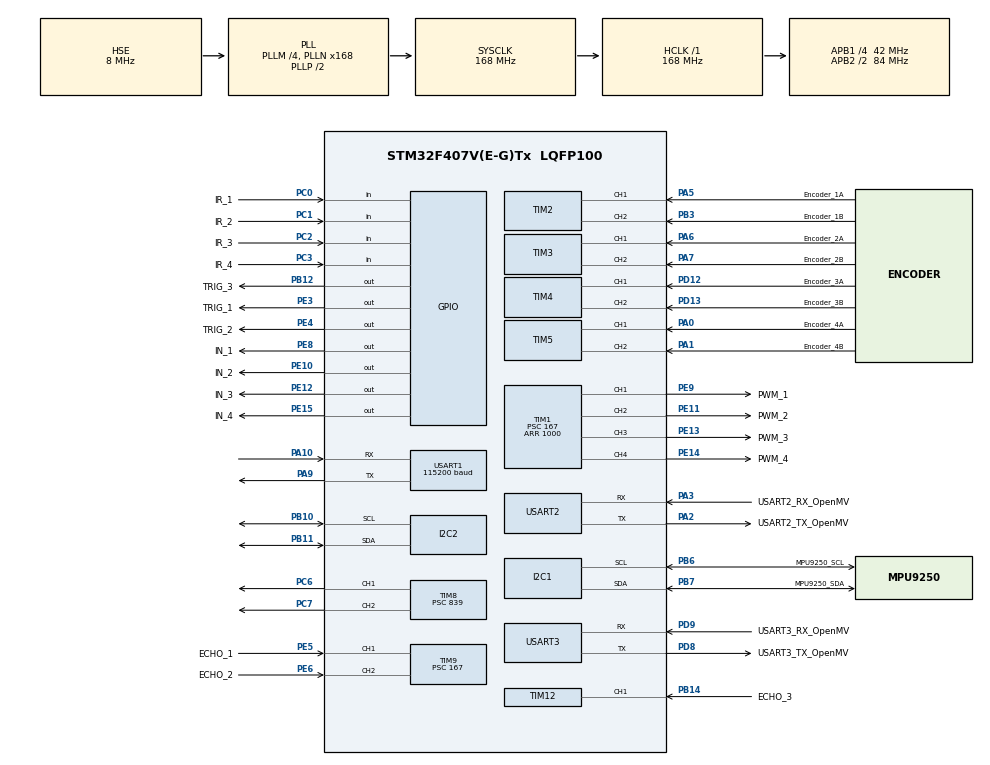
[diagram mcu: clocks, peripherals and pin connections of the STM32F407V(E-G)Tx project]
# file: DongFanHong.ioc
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I2C1.I2C_Mode=I2C_Fast
Mcu.Family=STM32F4
Mcu.Name=STM32F407V(E-G)Tx
Mcu.Package=LQFP100
NVIC.PriorityGroup=NVIC_PRIORITYGROUP_4
NVIC.TIM1_BRK_TIM9_IRQn=true\:0\:0\:false\:false\:true\:true\:true
NVIC.TIM8_BRK_TIM12_IRQn=true\:0\:0\:false\:false\:true\:true\:true
NVIC.USART1_IRQn=true\:0\:0\:false\:false\:true\:true\:true
NVIC.USART2_IRQn=true\:0\:0\:false\:false\:true\:true\:true
NVIC.USART3_IRQn=true\:0\:0\:false\:false\:true\:true\:true
PA0-WKUP.GPIO_Label=Encoder_4A
PA0-WKUP.Signal=S_TIM5_CH1
PA1.GPIO_Label=Encoder_4B
PA1.Signal=S_TIM5_CH2
PA10.Mode=Asynchronous
PA10.Signal=USART1_RX
PA13.Mode=Serial_Wire
PA13.Signal=SYS_JTMS-SWDIO
PA14.Mode=Serial_Wire
PA14.Signal=SYS_JTCK-SWCLK
PA2.GPIO_Label=USART2_TX_OpenMV
PA2.Mode=Asynchronous
PA2.Signal=USART2_TX
PA3.GPIO_Label=USART2_RX_OpenMV
PA3.Mode=Asynchronous
PA3.Signal=USART2_RX
PA5.GPIO_Label=Encoder_1A
PA5.Signal=S_TIM2_CH1_ETR
PA6.GPIO_Label=Encoder_2A
PA6.Signal=S_TIM3_CH1
PA7.GPIO_Label=Encoder_2B
PA7.Signal=S_TIM3_CH2
PA9.Mode=Asynchronous
PA9.Signal=USART1_TX
PB10.Mode=I2C
PB10.Signal=I2C2_SCL
PB11.Mode=I2C
PB11.Signal=I2C2_SDA
PB12.GPIO_Label=TRIG_3
PB12.Signal=GPIO_Output
PB14.GPIO_Label=ECHO_3
PB14.GPIO_PuPd=GPIO_NOPULL
PB14.Signal=S_TIM12_CH1
PB3.GPIO_Label=Encoder_1B
PB3.Signal=S_TIM2_CH2
PB6.GPIO_Label=MPU9250_SCL
PB6.Mode=I2C
PB6.Signal=I2C1_SCL
PB7.GPIO_Label=MPU9250_SDA
PB7.Mode=I2C
PB7.Signal=I2C1_SDA
PC0.GPIO_Label=IR_1
PC0.GPIO_PuPd=GPIO_PULLDOWN
PC0.Signal=GPIO_Input
PC1.GPIO_Label=IR_2
PC1.GPIO_PuPd=GPIO_PULLDOWN
PC1.Signal=GPIO_Input
PC14-OSC32_IN.Mode=LSE-External-Oscillator
PC14-OSC32_IN.Signal=RCC_OSC32_IN
PC15-OSC32_OUT.Mode=LSE-External-Oscillator
PC15-OSC32_OUT.Signal=RCC_OSC32_OUT
PC2.GPIO_Label=IR_3
PC2.GPIO_PuPd=GPIO_PULLDOWN
PC2.Signal=GPIO_Input
PC3.GPIO_Label=IR_4
PC3.GPIO_PuPd=GPIO_PULLDOWN
PC3.Signal=GPIO_Input
PC6.Signal=S_TIM8_CH1
PC7.Signal=S_TIM8_CH2
PD12.GPIO_Label=Encoder_3A
PD12.Signal=S_TIM4_CH1
PD13.GPIO_Label=Encoder_3B
PD13.Signal=S_TIM4_CH2
PD8.GPIO_Label=USART3_TX_OpenMV
PD8.Mode=Asynchronous
PD8.Signal=USART3_TX
PD9.GPIO_Label=USART3_RX_OpenMV
PD9.Mode=Asynchronous
PD9.Signal=USART3_RX
PE10.GPIO_Label=IN_2
PE10.Signal=GPIO_Output
PE11.GPIO_Label=PWM_2
PE11.Signal=S_TIM1_CH2
PE12.GPIO_Label=IN_3
PE12.Signal=GPIO_Output
PE13.GPIO_Label=PWM_3
PE13.Signal=S_TIM1_CH3
PE14.GPIO_Label=PWM_4
PE14.Signal=S_TIM1_CH4
PE15.GPIO_Label=IN_4
PE15.Signal=GPIO_Output
PE3.GPIO_Label=TRIG_1
PE3.Signal=GPIO_Output
PE4.GPIO_Label=TRIG_2
PE4.Signal=GPIO_Output
PE5.GPIO_Label=ECHO_1
PE5.Signal=S_TIM9_CH1
PE6.GPIO_Label=ECHO_2
PE6.Signal=S_TIM9_CH2
PE8.GPIO_Label=IN_1
PE8.Signal=GPIO_Output
PE9.GPIO_Label=PWM_1
PE9.Signal=S_TIM1_CH1
PH0-OSC_IN.Mode=HSE-External-Oscillator
PH0-OSC_IN.Signal=RCC_OSC_IN
PH1-OSC_OUT.Mode=HSE-External-Oscillator
PH1-OSC_OUT.Signal=RCC_OSC_OUT
ProjectManager.HeapSize=0x200
ProjectManager.StackSize=0x400
ProjectManager.TargetToolchain=MDK-ARM V5.32
RCC.48MHZClocksFreq_Value=84000000
RCC.AHBFreq_Value=168000000
RCC.APB1CLKDivider=RCC_HCLK_DIV4
RCC.APB1Freq_Value=42000000
RCC.APB1TimFreq_Value=84000000
RCC.APB2CLKDivider=RCC_HCLK_DIV2
RCC.APB2Freq_Value=84000000
RCC.APB2TimFreq_Value=168000000
RCC.CortexFreq_Value=168000000
RCC.HCLKFreq_Value=168000000
RCC.HSE_VALUE=8000000
RCC.HSI_VALUE=16000000
RCC.PLLM=4
RCC.PLLN=168
RCC.PLLSourceVirtual=RCC_PLLSOURCE_HSE
RCC.SYSCLKFreq_VALUE=168000000
RCC.SYSCLKSource=RCC_SYSCLKSOURCE_PLLCLK
RCC.VCOOutputFreq_Value=336000000
SH.S_TIM12_CH1.0=TIM12_CH1,Input_Capture1_from_TI1
SH.S_TIM1_CH1.0=TIM1_CH1,PWM Generation1 CH1
SH.S_TIM1_CH2.0=TIM1_CH2,PWM Generation2 CH2
SH.S_TIM1_CH3.0=TIM1_CH3,PWM Generation3 CH3
SH.S_TIM1_CH4.0=TIM1_CH4,PWM Generation4 CH4
SH.S_TIM2_CH1_ETR.0=TIM2_CH1,Encoder_Interface
SH.S_TIM2_CH2.0=TIM2_CH2,Encoder_Interface
SH.S_TIM3_CH1.0=TIM3_CH1,Encoder_Interface
SH.S_TIM3_CH2.0=TIM3_CH2,Encoder_Interface
SH.S_TIM4_CH1.0=TIM4_CH1,Encoder_Interface
SH.S_TIM4_CH2.0=TIM4_CH2,Encoder_Interface
SH.S_TIM5_CH1.0=TIM5_CH1,Encoder_Interface
SH.S_TIM5_CH2.0=TIM5_CH2,Encoder_Interface
SH.S_TIM8_CH1.0=TIM8_CH1,PWM Generation1 CH1
SH.S_TIM8_CH2.0=TIM8_CH2,PWM Generation2 CH2
SH.S_TIM9_CH1.0=TIM9_CH1,Input_Capture1_from_TI1
SH.S_TIM9_CH2.0=TIM9_CH2,Input_Capture2_from_TI2
TIM1.Channel-PWM\ Generation1\ CH1=TIM_CHANNEL_1
TIM1.Channel-PWM\ Generation2\ CH2=TIM_CHANNEL_2
TIM1.Channel-PWM\ Generation3\ CH3=TIM_CHANNEL_3
TIM1.Channel-PWM\ Generation4\ CH4=TIM_CHANNEL_4
TIM1.Period=1000
TIM1.Prescaler=167
TIM12.Channel-Input_Capture1_from_TI1=TIM_CHANNEL_1
TIM12.Prescaler=167
TIM2.EncoderMode=TIM_ENCODERMODE_TI12
TIM3.EncoderMode=TIM_ENCODERMODE_TI12
TIM4.EncoderMode=TIM_ENCODERMODE_TI12
TIM5.EncoderMode=TIM_ENCODERMODE_TI12
TIM8.Channel-PWM\ Generation1\ CH1=TIM_CHANNEL_1
TIM8.Channel-PWM\ Generation2\ CH2=TIM_CHANNEL_2
TIM8.Period=1999
TIM8.Prescaler=839
TIM9.Channel-Input_Capture1_from_TI1=TIM_CHANNEL_1
TIM9.Channel-Input_Capture2_from_TI2=TIM_CHANNEL_2
TIM9.Prescaler=167
USART1.BaudRate=115200
USART1.VirtualMode=VM_ASYNC
USART2.VirtualMode=VM_ASYNC
USART3.VirtualMode=VM_ASYNC
VP_TIM12_VS_ClockSourceINT.Mode=Internal
VP_TIM1_VS_ClockSourceINT.Mode=Internal
VP_TIM8_VS_ClockSourceINT.Mode=Internal
VP_TIM9_VS_ClockSourceINT.Mode=Internal
board=custom

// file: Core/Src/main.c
/* USER CODE BEGIN Header */
/**
  ******************************************************************************
  * @file           : main.c
  * @brief          : Main program body
  ******************************************************************************
  * @attention
  *
  * <h2><center>&copy; Copyright (c) 2022 STMicroelectronics.
  * All rights reserved.</center></h2>
  *
  * This software component is licensed by ST under BSD 3-Clause license,
  * the "License"; You may not use this file except in compliance with the
  * License. You may obtain a copy of the License at:
  *                        opensource.org/licenses/BSD-3-Clause
  *
  ******************************************************************************
  */
/* USER CODE END Header */
#include "main.h"
#include "i2c.h"
#include "tim.h"
#include "usart.h"
#include "gpio.h"

/* USER CODE BEGIN Includes */
#include "NiMing_UpperConputer.h"
#include "stdio.h"
#include "mpu9250.h"
#include "hc_sr04.h"
#include "encoder.h"
#include "motor.h"
#include "pid.h"
#include "control.h"
#include "string.h"

uint8_t Rx_String_1[100];    //接收字符串数组
uint8_t Rx_Flag_1=0;         //接收字符串计数uint8_t Rx_Flag_4=0;         //接收字符串计数
uint8_t Rx_buff_1;           //接收缓存
int OpenMV_data_0,OpenMV_data_1,OpenMV_data_2;
/* USER CODE END Includes */

void SystemClock_Config(void);

/* USER CODE BEGIN 0 */
int set_basic_speek;
volatile int step=0;//步骤
int cnt=0;
int i=0;

/* USER CODE END 0 */

int main(void)
{

  /* MCU Configuration--------------------------------------------------------*/

  /* Reset of all peripherals, Initializes the Flash interface and the Systick. */
  HAL_Init();

  /* Configure the system clock */
  SystemClock_Config();

  /* Initialize all configured peripherals */
  MX_GPIO_Init();
  MX_USART1_UART_Init();
  MX_USART2_UART_Init();
  MX_USART3_UART_Init();
  MX_I2C1_Init();
  MX_I2C2_Init();
  MX_TIM9_Init();
  MX_TIM12_Init();
  MX_TIM2_Init();
  MX_TIM3_Init();
  MX_TIM4_Init();
  MX_TIM5_Init();
  MX_TIM1_Init();
  MX_TIM8_Init();
  /* USER CODE BEGIN 2 */

HcSr04_TIM_start();
MPU_Init();
HAL_Delay(3000);
Encoder_Init();
motor_Init();
PID_Init();
HAL_GPIO_WritePin(IR_1_GPIO_Port, IR_1_Pin,GPIO_PIN_RESET);
HAL_GPIO_WritePin(IR_2_GPIO_Port, IR_2_Pin,GPIO_PIN_RESET);

HAL_UART_Receive_IT(&huart3, (uint8_t *)&Rx_buff_1, 1);   //开启接收中断

//	HAL_TIM_PWM_Start(&htim8,TIM_CHANNEL_1);
//	__HAL_TIM_SetCompare(&htim8,TIM_CHANNEL_1,60);
//	HAL_TIM_PWM_Start(&htim8,TIM_CHANNEL_2);
//	__HAL_TIM_SetCompare(&htim8,TIM_CHANNEL_2,60);
//	HAL_TIM_PWM_Start(&htim8,TIM_CHANNEL_3);

HAL_Delay(1000);
start_flag=1;
  /* USER CODE END 2 */

  /* Infinite loop */
  /* USER CODE BEGIN WHILE */

dis_target=1800;
keep_dis_1_flag=1;
yaw_set=yaw;
keep_yaw_flag=1;
move_flag=1;

  while (1)
  {
		cnt++;
		HAL_Delay(1000);
//	keep_dis_1_flag=1;//保持前方距离
//	move_flag=1;//启动
//
//	HAL_Delay(5000);
//	move_flag=0;
//	keep_dis_1_flag=0;//停止保持前方距离
//	yaw_set-=90;//左转
//	move_flag=1;//启动
//	while((yaw_set-yaw)>5||(yaw_set-yaw)<-5){HAL_Delay(1);}//直到偏差小于5°
//	HAL_Delay(300);
//	move_flag=0;//停下

//	keep_dis_3_flag=1;//保持右测距离
//	move_flag=1;//启动
//
//	HAL_Delay(5000);
//	move_flag=0;
//	keep_dis_3_flag=0;//停止保持右侧距离
//	yaw_set+=90;//右转
//	move_flag=1;//启动
//	while((yaw_set-yaw)>5||(yaw_set-yaw)<-5){HAL_Delay(1);}//直到偏差小于5°
//	move_flag=0;//停下

//		ANODT_SendF1(yaw*10);
//		basic_speek=10;
//		HAL_Delay(3000);
//		basic_speek=0;
//		HAL_Delay(2000);
//		basic_speek=-10;
//		HAL_Delay(3000);
//		basic_speek=0;
//		HAL_Delay(2000);

//		dis_target[0]+=300;
//		HAL_Delay(3000);
//		dis_target[0]-=300;
//		HAL_Delay(3000);
    /* USER CODE END WHILE */

  }
}

void SystemClock_Config(void)
{
  RCC_OscInitTypeDef RCC_OscInitStruct = {0};
  RCC_ClkInitTypeDef RCC_ClkInitStruct = {0};

  /** Configure the main internal regulator output voltage
  */
  __HAL_RCC_PWR_CLK_ENABLE();
  __HAL_PWR_VOLTAGESCALING_CONFIG(PWR_REGULATOR_VOLTAGE_SCALE1);
  /** Initializes the RCC Oscillators according to the specified parameters
  * in the RCC_OscInitTypeDef structure.
  */
  RCC_OscInitStruct.OscillatorType = RCC_OSCILLATORTYPE_HSE;
  RCC_OscInitStruct.HSEState = RCC_HSE_ON;
  RCC_OscInitStruct.PLL.PLLState = RCC_PLL_ON;
  RCC_OscInitStruct.PLL.PLLSource = RCC_PLLSOURCE_HSE;
  RCC_OscInitStruct.PLL.PLLM = 4;
  RCC_OscInitStruct.PLL.PLLN = 168;
  RCC_OscInitStruct.PLL.PLLP = RCC_PLLP_DIV2;
  RCC_OscInitStruct.PLL.PLLQ = 4;
  if (HAL_RCC_OscConfig(&RCC_OscInitStruct) != HAL_OK)
  {
    Error_Handler();
  }
  /** Initializes the CPU, AHB and APB buses clocks
  */
  RCC_ClkInitStruct.ClockType = RCC_CLOCKTYPE_HCLK|RCC_CLOCKTYPE_SYSCLK
                              |RCC_CLOCKTYPE_PCLK1|RCC_CLOCKTYPE_PCLK2;
  RCC_ClkInitStruct.SYSCLKSource = RCC_SYSCLKSOURCE_PLLCLK;
  RCC_ClkInitStruct.AHBCLKDivider = RCC_SYSCLK_DIV1;
  RCC_ClkInitStruct.APB1CLKDivider = RCC_HCLK_DIV4;
  RCC_ClkInitStruct.APB2CLKDivider = RCC_HCLK_DIV2;

  if (HAL_RCC_ClockConfig(&RCC_ClkInitStruct, FLASH_LATENCY_5) != HAL_OK)
  {
    Error_Handler();
  }
}

/* USER CODE BEGIN 4 */
void HAL_UART_RxCpltCallback(UART_HandleTypeDef *huart)                                          //中断回调函数
{
		/*
		摄像头回传数据：x，y，0X0A
	*/

		if(huart == &huart3)
		{
			Rx_String_1[Rx_Flag_1++] = Rx_buff_1;  //接收字符
			if(Rx_String_1[Rx_Flag_1-1] == 0x0A) //判断是否接收结束
			{
				OpenMV_data_0 = Rx_String_1[0];
				OpenMV_data_1 = Rx_String_1[1]-80;
				OpenMV_data_2 = Rx_String_1[2]-60;
				memset(Rx_String_1,0x00,sizeof(Rx_buff_1)); //清空接收字符串
				Rx_Flag_1 = 0; //清空计数器
			}
		HAL_UART_Receive_IT(&huart3, (uint8_t *)&Rx_buff_1, 1);   //再开启接收中断
		}

		}

/* USER CODE END 4 */

void Error_Handler(void)
{
  __disable_irq();
  while (1)
  {
  }
}

/************************ (C) COPYRIGHT STMicroelectronics *****END OF FILE****/
